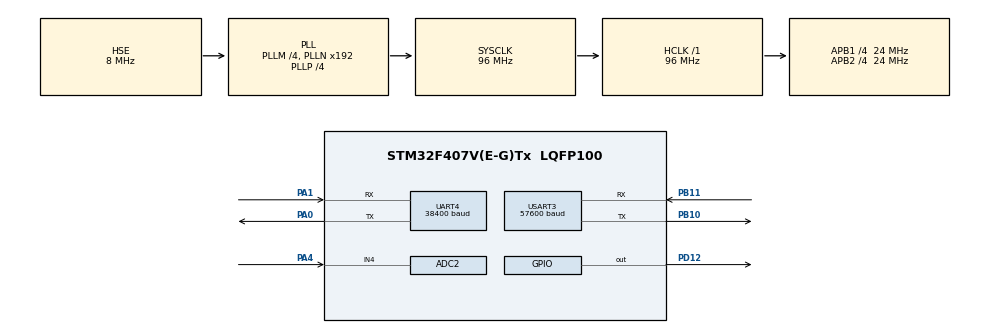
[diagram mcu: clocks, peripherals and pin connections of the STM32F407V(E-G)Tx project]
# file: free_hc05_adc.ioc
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ADC2.Channel-0\#ChannelRegularConversion=ADC_CHANNEL_4
ADC2.ClockPrescaler=ADC_CLOCK_SYNC_PCLK_DIV4
ADC2.ContinuousConvMode=DISABLE
ADC2.InjNumberOfConversion=0
ADC2.NbrOfConversionFlag=1
ADC2.Rank-0\#ChannelRegularConversion=1
ADC2.SamplingTime-0\#ChannelRegularConversion=ADC_SAMPLETIME_3CYCLES
FREERTOS.BinarySemaphores01=Sem01_ADC,Dynamic,NULL
FREERTOS.Queues01=Queue_UART4_RX,24,uint8_t,0,Dynamic,NULL,NULL
FREERTOS.Tasks01=defaultTask,-2,512,StartDefaultTask,Default,NULL,Dynamic,NULL,NULL;task_ADC,-2,256,start_task_ADC,Default,NULL,Dynamic,NULL,NULL;task_UART_ADC,-2,512,start_task_UART_ADC,Default,NULL,Dynamic,NULL,NULL;task_UART4_ISR,-2,128,task_UART4_ISR_Handler,Default,NULL,Dynamic,NULL,NULL;TaskTestUART4TX,-2,128,TestUART4TX_Handler,Default,NULL,Dynamic,NULL,NULL
FREERTOS.configTOTAL_HEAP_SIZE=30720
Mcu.Family=STM32F4
Mcu.Name=STM32F407V(E-G)Tx
Mcu.Package=LQFP100
NVIC.PriorityGroup=NVIC_PRIORITYGROUP_4
NVIC.TIM1_UP_TIM10_IRQn=true\:0\:0\:false\:false\:true\:false\:false\:true
NVIC.TimeBase=TIM1_UP_TIM10_IRQn
NVIC.TimeBaseIP=TIM1
NVIC.UART4_IRQn=true\:5\:0\:false\:false\:true\:true\:true\:true
PA0-WKUP.GPIO_Speed=GPIO_SPEED_FREQ_HIGH
PA0-WKUP.Mode=Asynchronous
PA0-WKUP.Signal=UART4_TX
PA1.GPIO_Speed=GPIO_SPEED_FREQ_HIGH
PA1.Mode=Asynchronous
PA1.Signal=UART4_RX
PA13.Mode=Serial_Wire
PA13.Signal=SYS_JTMS-SWDIO
PA14.Mode=Serial_Wire
PA14.Signal=SYS_JTCK-SWCLK
PA4.Signal=ADCx_IN4
PB10.Mode=Asynchronous
PB10.Signal=USART3_TX
PB11.Mode=Asynchronous
PB11.Signal=USART3_RX
PD12.Signal=GPIO_Output
PH0-OSC_IN.Mode=HSE-External-Clock-Source
PH0-OSC_IN.Signal=RCC_OSC_IN
PH1-OSC_OUT.Mode=HSE-External-Clock-Source
PH1-OSC_OUT.Signal=RCC_OSC_OUT
ProjectManager.HeapSize=0x2000
ProjectManager.StackSize=0x4000
ProjectManager.TargetToolchain=STM32CubeIDE
RCC.48MHZClocksFreq_Value=96000000
RCC.AHBFreq_Value=96000000
RCC.APB1CLKDivider=RCC_HCLK_DIV4
RCC.APB1Freq_Value=24000000
RCC.APB1TimFreq_Value=48000000
RCC.APB2CLKDivider=RCC_HCLK_DIV4
RCC.APB2Freq_Value=24000000
RCC.APB2TimFreq_Value=48000000
RCC.CortexFreq_Value=96000000
RCC.HCLKFreq_Value=96000000
RCC.HSE_VALUE=8000000
RCC.HSI_VALUE=16000000
RCC.LSE_VALUE=32768
RCC.PLLM=4
RCC.PLLP=RCC_PLLP_DIV4
RCC.PLLSourceVirtual=RCC_PLLSOURCE_HSE
RCC.SYSCLKFreq_VALUE=96000000
RCC.SYSCLKSource=RCC_SYSCLKSOURCE_PLLCLK
RCC.VCOOutputFreq_Value=384000000
SH.ADCx_IN4.0=ADC2_IN4,IN4
UART4.BaudRate=38400
UART4.VirtualMode=Asynchronous
USART3.BaudRate=57600
USART3.VirtualMode=VM_ASYNC
VP_FREERTOS_VS_CMSIS_V1.Mode=CMSIS_V1
VP_SYS_VS_tim1.Mode=TIM1
board=custom

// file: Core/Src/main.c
/* USER CODE BEGIN Header */
/**
  ******************************************************************************
  * @file           : main.c
  * @brief          : Main program body
  ******************************************************************************
  * @attention
  *
  * <h2><center>&copy; Copyright (c) 2020 STMicroelectronics.
  * All rights reserved.</center></h2>
  *
  * This software component is licensed by ST under BSD 3-Clause license,
  * the "License"; You may not use this file except in compliance with the
  * License. You may obtain a copy of the License at:
  *                        opensource.org/licenses/BSD-3-Clause
  *
  ******************************************************************************
  */
/* USER CODE END Header */

#include "main.h"
#include "cmsis_os.h"

/* USER CODE BEGIN Includes */
#include "task.h"
#include "queue.h"
#include "semphr.h"
/* USER CODE END Includes */

ADC_HandleTypeDef hadc2;

UART_HandleTypeDef huart4;
UART_HandleTypeDef huart3;

osThreadId defaultTaskHandle;
osThreadId task_ADCHandle;
osThreadId task_UART_ADCHandle;
osThreadId task_UART4_ISRHandle;
osThreadId TaskTestUART4TXHandle;
osMessageQId Queue_UART4_RXHandle;
osSemaphoreId Sem01_ADCHandle;

void SystemClock_Config(void);
static void MX_GPIO_Init(void);
static void MX_ADC2_Init(void);
static void MX_USART3_UART_Init(void);
static void MX_UART4_Init(void);
void StartDefaultTask(void const * argument);
void start_task_ADC(void const * argument);
void start_task_UART_ADC(void const * argument);
void task_UART4_ISR_Handler(void const * argument);
void TestUART4TX_Handler(void const * argument);

/* USER CODE BEGIN PFP */
uint32_t ADC_result = 0;
char message_UART3_tx [24]; //буффер для отправки данных по UART3
char message_UART4_rx [15];
char message_UART4_rx [15]; //буффер для приёма данных по UART4
/* USER CODE END PFP */

int main(void)
{

  /* MCU Configuration--------------------------------------------------------*/

  /* Reset of all peripherals, Initializes the Flash interface and the Systick. */
  HAL_Init();

  /* Configure the system clock */
  SystemClock_Config();

  /* Initialize all configured peripherals */
  MX_GPIO_Init();
  MX_ADC2_Init();
  MX_USART3_UART_Init();
  MX_UART4_Init();

  /* Create the semaphores(s) */
  /* definition and creation of Sem01_ADC */
  osSemaphoreDef(Sem01_ADC);
  Sem01_ADCHandle = osSemaphoreCreate(osSemaphore(Sem01_ADC), 1);

  /* Create the queue(s) */
  /* definition and creation of Queue_UART4_RX */
  osMessageQDef(Queue_UART4_RX, 24, uint8_t);
  Queue_UART4_RXHandle = osMessageCreate(osMessageQ(Queue_UART4_RX), NULL);

  /* Create the thread(s) */
  /* definition and creation of defaultTask */
  osThreadDef(defaultTask, StartDefaultTask, osPriorityLow, 0, 512);
  defaultTaskHandle = osThreadCreate(osThread(defaultTask), NULL);

  /* definition and creation of task_ADC */
  osThreadDef(task_ADC, start_task_ADC, osPriorityLow, 0, 256);
  task_ADCHandle = osThreadCreate(osThread(task_ADC), NULL);

  /* definition and creation of task_UART_ADC */
  osThreadDef(task_UART_ADC, start_task_UART_ADC, osPriorityLow, 0, 512);
  task_UART_ADCHandle = osThreadCreate(osThread(task_UART_ADC), NULL);

  /* definition and creation of task_UART4_ISR */
  osThreadDef(task_UART4_ISR, task_UART4_ISR_Handler, osPriorityLow, 0, 128);
  task_UART4_ISRHandle = osThreadCreate(osThread(task_UART4_ISR), NULL);

  /* definition and creation of TaskTestUART4TX */
  osThreadDef(TaskTestUART4TX, TestUART4TX_Handler, osPriorityLow, 0, 128);
  TaskTestUART4TXHandle = osThreadCreate(osThread(TaskTestUART4TX), NULL);

  /* Start scheduler */
  osKernelStart();

  /* We should never get here as control is now taken by the scheduler */

  /* Infinite loop */
  while (1)
  {

  }
}

void SystemClock_Config(void)
{
  RCC_OscInitTypeDef RCC_OscInitStruct = {0};
  RCC_ClkInitTypeDef RCC_ClkInitStruct = {0};

  /** Configure the main internal regulator output voltage
  */
  __HAL_RCC_PWR_CLK_ENABLE();
  __HAL_PWR_VOLTAGESCALING_CONFIG(PWR_REGULATOR_VOLTAGE_SCALE1);
  /** Initializes the CPU, AHB and APB busses clocks
  */
  RCC_OscInitStruct.OscillatorType = RCC_OSCILLATORTYPE_HSE;
  RCC_OscInitStruct.HSEState = RCC_HSE_BYPASS;
  RCC_OscInitStruct.PLL.PLLState = RCC_PLL_ON;
  RCC_OscInitStruct.PLL.PLLSource = RCC_PLLSOURCE_HSE;
  RCC_OscInitStruct.PLL.PLLM = 4;
  RCC_OscInitStruct.PLL.PLLN = 192;
  RCC_OscInitStruct.PLL.PLLP = RCC_PLLP_DIV4;
  RCC_OscInitStruct.PLL.PLLQ = 4;
  if (HAL_RCC_OscConfig(&RCC_OscInitStruct) != HAL_OK)
  {
    Error_Handler();
  }
  /** Initializes the CPU, AHB and APB busses clocks
  */
  RCC_ClkInitStruct.ClockType = RCC_CLOCKTYPE_HCLK|RCC_CLOCKTYPE_SYSCLK
                              |RCC_CLOCKTYPE_PCLK1|RCC_CLOCKTYPE_PCLK2;
  RCC_ClkInitStruct.SYSCLKSource = RCC_SYSCLKSOURCE_PLLCLK;
  RCC_ClkInitStruct.AHBCLKDivider = RCC_SYSCLK_DIV1;
  RCC_ClkInitStruct.APB1CLKDivider = RCC_HCLK_DIV4;
  RCC_ClkInitStruct.APB2CLKDivider = RCC_HCLK_DIV4;

  if (HAL_RCC_ClockConfig(&RCC_ClkInitStruct, FLASH_LATENCY_3) != HAL_OK)
  {
    Error_Handler();
  }
}

static void MX_ADC2_Init(void)
{

  ADC_ChannelConfTypeDef sConfig = {0};

  /** Configure the global features of the ADC (Clock, Resolution, Data Alignment and number of conversion)
  */
  hadc2.Instance = ADC2;
  hadc2.Init.ClockPrescaler = ADC_CLOCK_SYNC_PCLK_DIV4;
  hadc2.Init.Resolution = ADC_RESOLUTION_12B;
  hadc2.Init.ScanConvMode = DISABLE;
  hadc2.Init.ContinuousConvMode = DISABLE;
  hadc2.Init.DiscontinuousConvMode = DISABLE;
  hadc2.Init.ExternalTrigConvEdge = ADC_EXTERNALTRIGCONVEDGE_NONE;
  hadc2.Init.ExternalTrigConv = ADC_SOFTWARE_START;
  hadc2.Init.DataAlign = ADC_DATAALIGN_RIGHT;
  hadc2.Init.NbrOfConversion = 1;
  hadc2.Init.DMAContinuousRequests = DISABLE;
  hadc2.Init.EOCSelection = ADC_EOC_SINGLE_CONV;
  if (HAL_ADC_Init(&hadc2) != HAL_OK)
  {
    Error_Handler();
  }
  /** Configure for the selected ADC regular channel its corresponding rank in the sequencer and its sample time.
  */
  sConfig.Channel = ADC_CHANNEL_4;
  sConfig.Rank = 1;
  sConfig.SamplingTime = ADC_SAMPLETIME_3CYCLES;
  if (HAL_ADC_ConfigChannel(&hadc2, &sConfig) != HAL_OK)
  {
    Error_Handler();
  }

}

static void MX_UART4_Init(void)
{

  huart4.Instance = UART4;
  huart4.Init.BaudRate = 38400;
  huart4.Init.WordLength = UART_WORDLENGTH_8B;
  huart4.Init.StopBits = UART_STOPBITS_1;
  huart4.Init.Parity = UART_PARITY_NONE;
  huart4.Init.Mode = UART_MODE_TX_RX;
  huart4.Init.HwFlowCtl = UART_HWCONTROL_NONE;
  huart4.Init.OverSampling = UART_OVERSAMPLING_16;
  if (HAL_UART_Init(&huart4) != HAL_OK)
  {
    Error_Handler();
  }

}

static void MX_USART3_UART_Init(void)
{

  huart3.Instance = USART3;
  huart3.Init.BaudRate = 57600;
  huart3.Init.WordLength = UART_WORDLENGTH_8B;
  huart3.Init.StopBits = UART_STOPBITS_1;
  huart3.Init.Parity = UART_PARITY_NONE;
  huart3.Init.Mode = UART_MODE_TX_RX;
  huart3.Init.HwFlowCtl = UART_HWCONTROL_NONE;
  huart3.Init.OverSampling = UART_OVERSAMPLING_16;
  if (HAL_UART_Init(&huart3) != HAL_OK)
  {
    Error_Handler();
  }

}

static void MX_GPIO_Init(void)
{
  GPIO_InitTypeDef GPIO_InitStruct = {0};

  /* GPIO Ports Clock Enable */
  __HAL_RCC_GPIOH_CLK_ENABLE();
  __HAL_RCC_GPIOA_CLK_ENABLE();
  __HAL_RCC_GPIOB_CLK_ENABLE();
  __HAL_RCC_GPIOD_CLK_ENABLE();

  /*Configure GPIO pin Output Level */
  HAL_GPIO_WritePin(GPIOD, GPIO_PIN_12, GPIO_PIN_RESET);

  /*Configure GPIO pin : PD12 */
  GPIO_InitStruct.Pin = GPIO_PIN_12;
  GPIO_InitStruct.Mode = GPIO_MODE_OUTPUT_PP;
  GPIO_InitStruct.Pull = GPIO_NOPULL;
  GPIO_InitStruct.Speed = GPIO_SPEED_FREQ_LOW;
  HAL_GPIO_Init(GPIOD, &GPIO_InitStruct);

}

/* USER CODE BEGIN 4 */
//---------------------------------------------------------------
void HAL_UART_RxCpltCallback (UART_HandleTypeDef *huart)
{
  if(huart==&huart4)
  {
	osMessagePut (Queue_UART4_RXHandle, message_UART4_rx, 200);
    HAL_UART_Receive_IT(&huart4, (uint8_t*)message_UART4_rx, 1);
//    osMessageQueuePut (Queue_UART4_RXHandle, message_UART4_rx, NULL, 10);
//    xQueueSend( Queue_UART4_RXHandle, (uint8_t*)message_UART4_rx, 10);
  }
}
/* USER CODE END 4 */

void StartDefaultTask(void const * argument)
{
  /* USER CODE BEGIN 5 */
  /* Infinite loop */
  for(;;)
  {
	 //osEvent event;
	 HAL_UART_Receive_IT(&huart4, (uint8_t*)message_UART4_rx, 1); //возвращает символ, полученный по UART4
	 osDelay(1);
  }
  /* USER CODE END 5 */
}

void start_task_ADC(void const * argument)
{
  /* USER CODE BEGIN start_task_ADC */
  /* Infinite loop */
  for(;;)
  {
	  TickType_t xLastWakeTime; //аргумент хранит значение времени, соответствующее моменту, когда задача была разблокирована в предыдущий раз
	  const TickType_t xFrequency = 300 / portTICK_PERIOD_MS; //аргумент задаёт нужный период (в данном случае 200 мс)
	  xLastWakeTime = xTaskGetTickCount();
	  /* Infinite loop */
	  for(;;)
	  	{
		HAL_ADC_Start(&hadc2); //запустим аналогово-цифровое преобразование
		HAL_ADC_PollForConversion(&hadc2, 100); //дождёмся окончания преобразований
		ADC_result = (uint32_t) HAL_ADC_GetValue(&hadc2);
		HAL_ADC_Stop(&hadc2); //остановим преобразования
		HAL_GPIO_TogglePin(GPIOD, GPIO_PIN_12); //зажгём светодиод
		xSemaphoreGive (Sem01_ADCHandle); //выдадим семафор
//		vTaskDelayUntil (&xLastWakeTime, xFrequency); //функция vTaskDelayUntil() заблокирует задачу до момента времени T = xLastWakeTime + xFrequency
		vTaskDelay(xFrequency);
	  	}
  	}
  /* USER CODE END start_task_ADC */
}

void start_task_UART_ADC(void const * argument)
{
  /* USER CODE BEGIN start_task_UART_ADC */
  /* Infinite loop */
  for(;;)
  {
	 if( Sem01_ADCHandle != NULL )
	   {
	   if( xSemaphoreTake( Sem01_ADCHandle, (TickType_t) (100 / portTICK_RATE_MS) ) == pdTRUE ) //подождать 50 тиков, пока семафор станет свободным
	     {
	     sprintf (message_UART3_tx, "resultat = %lu\r\n", ADC_result);
	     HAL_UART_Transmit (&huart3, (unsigned char*)message_UART3_tx, strlen(message_UART3_tx), 0xFFFF);
	     memset (message_UART3_tx, '\0', sizeof (message_UART3_tx)); //очищаем буфер передачи
	     }
/*	   else
	   	   {
		   sprintf (message_UART_tx, "no resultat");
		   HAL_UART_Transmit (&huart3, (unsigned char*)message_UART_tx, strlen(message_UART_tx), 0xFFFF);
		   memset(message_UART_tx, '\0', sizeof(message_UART_tx)); //очищаем буфер передачи
	   	   }*/
	   }
	 osDelay(1);
  }
  /* USER CODE END start_task_UART_ADC */
}

void task_UART4_ISR_Handler(void const * argument)
{
  /* USER CODE BEGIN task_UART4_ISR_Handler */
  /* Infinite loop */
/*	char char_message_RX;
	osEvent event; //объявим структуру
	uint8_t b;
	static char buffer [24];
	uint8_t count = 0;*/
  for(;;)
  {
/*	  event = osMessageGet(Queue_UART4_RXHandle, 50);
	  if (event.status == osEventMessage)
	  {
		  b= event.value.v;
		  buffer [count] = b;
		  if(b==0x0A)
		  {
		  	HAL_UART_Transmit (&huart3, (unsigned char*)buffer, strlen(buffer), 0xFFFF);
		  	count=0;
		  }
		  else count++;*/

/*	  }
	  if (uxQueueMessagesWaiting(Queue_UART4_RXHandle) != 0)
	  {
	  	xQueueReceive(Queue_UART4_RXHandle, &buffer, 0);
//	  	if ((buffer [count-2] == 0x0D) && (buffer [count-1] == 0x0A))
	  	if (uxQueueMessagesWaiting(Queue_UART4_RXHandle) == 0)
	  		{
	  		HAL_UART_Transmit (&huart3, (unsigned char*)buffer, strlen(buffer), 0xFFFF);
	  		count = 0;
	  		}
	  	else
	  		{
	  		count++;
	  		}*/

//	  xQueueReceive (Queue_UART4_RXHandle, &buffer, 0); //xQueueReceive() используется для приема (чтения) элемента из очереди, при этом элемент удаляется из очереди
/*	  event = osMessageGet (Queue_UART4_RXHandle, 100);
	  if (event.status == osEventMessage) //если произошло событие сообщения
	  	  {
		  b = event.value.v;
		  buffer [count] = b;
		  if ((buffer [count-2] == 0x0D) && (buffer [count-1] == 0x0A))
		  	  {
			  HAL_UART_Transmit (&huart3, (unsigned char*)buffer, strlen(buffer), 0xFFFF);
		  	  count = 0;
		  	  }
	  	  else
	  	  	  {
	  		  count++;
	  	  	  }*/
	  	  }
  /* USER CODE END task_UART4_ISR_Handler */
}

void TestUART4TX_Handler(void const * argument)
{
  /* USER CODE BEGIN TestUART4TX_Handler */
	const TickType_t xFrequency = 1000 / portTICK_PERIOD_MS; //аргумент задаёт нужный период (в данном случае 1000 мс)
	const char buffer_UART4 [] = "test\r\n";
  /* Infinite loop */
  for(;;)
  {

	  HAL_UART_Transmit (&huart4, (unsigned char*)buffer_UART4, strlen(buffer_UART4), 0xFFFF);
	  vTaskDelay(xFrequency);
  }
  /* USER CODE END TestUART4TX_Handler */
}

void HAL_TIM_PeriodElapsedCallback(TIM_HandleTypeDef *htim)
{
  if (htim->Instance == TIM1) {
    HAL_IncTick();
  }
}

void Error_Handler(void)
{
}

/************************ (C) COPYRIGHT STMicroelectronics *****END OF FILE****/
